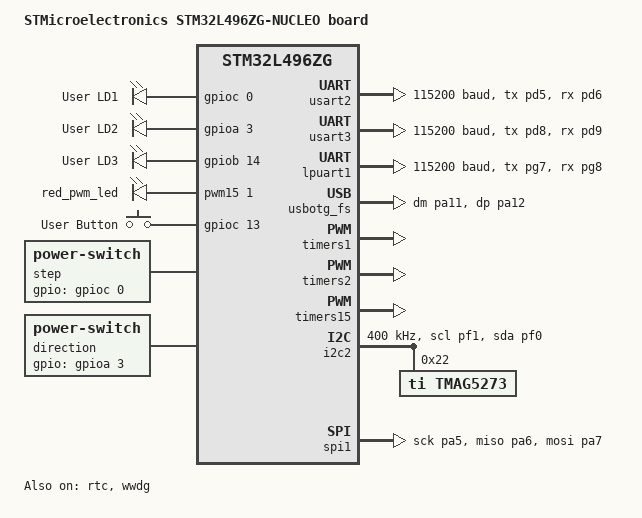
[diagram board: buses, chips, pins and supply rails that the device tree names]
/*
 * Copyright (c) 2018 Centaur Analytics, Inc
 *
 * SPDX-License-Identifier: Apache-2.0
 */

/dts-v1/;
#include <st/l4/stm32l496Xg.dtsi>
#include <st/l4/stm32l496z(e-g)tx-pinctrl.dtsi>
#include "arduino_r3_connector.dtsi"
#include <zephyr/dt-bindings/input/input-event-codes.h>
#include <zephyr/dt-bindings/sensor/tmag5273.h>

/ {
	model = "STMicroelectronics STM32L496ZG-NUCLEO board";
	compatible = "st,stm32l496zg-nucleo";

	chosen {
		zephyr,console = &lpuart1;
		zephyr,shell-uart = &lpuart1;
		zephyr,sram = &sram0;
		zephyr,flash = &flash0;
	};

	leds: leds {
		compatible = "gpio-leds";
		green_led_1: led_1 {
			gpios = <&gpioc 0 GPIO_ACTIVE_HIGH>;
			label = "User LD1";
		};
		blue_led_2: led_2 {
			gpios = <&gpioa 3 GPIO_ACTIVE_HIGH>;
			label = "User LD2";
		};
		red_led_3: led_3 {
			gpios = <&gpiob 14 GPIO_ACTIVE_HIGH>;
			label = "User LD3";
		};
	};

	pwmleds {
		compatible = "pwm-leds";

		red_pwm_led: red_pwm_led {
			pwms = <&pwm15 1 PWM_MSEC(20) PWM_POLARITY_NORMAL>;
		};
	};

	gpio_keys {
		compatible = "gpio-keys";
		user_button: button {
			label = "User Button";
			gpios = <&gpioc 13 GPIO_ACTIVE_HIGH>;
			zephyr,code = <INPUT_KEY_0>;
		};
	};

	step: step {
		compatible = "power-switch";
		gpios = <&gpioc 0 GPIO_ACTIVE_HIGH>;
	};

	direction: direction{
		compatible = "power-switch";
		gpios = <&gpioa 3 GPIO_ACTIVE_HIGH>;
	};

	aliases {
		led0 = &green_led_1;
		led1 = &blue_led_2;
		led2 = &red_led_3;
		pwm-led0 = &red_pwm_led;
		sw0 = &user_button;
		watchdog0 = &wwdg;
	};
};

&clk_lsi {
	status = "okay";
};

&clk_hsi {
	status = "okay";
};

&clk_hsi48 {
	status = "okay";
};

&pll {
	div-m = <1>;
	mul-n = <20>;
	div-p = <7>;
	div-q = <2>;
	div-r = <4>;
	clocks = <&clk_hsi>;
	status = "okay";
};

&rcc {
	clocks = <&pll>;
	clock-frequency = <DT_FREQ_M(80)>;
	ahb-prescaler = <1>;
	apb1-prescaler = <1>;
	apb2-prescaler = <1>;
};

&usart2 {
	pinctrl-0 = <&usart2_tx_pd5 &usart2_rx_pd6>;
	pinctrl-names = "default";
	current-speed = <115200>;
	status = "okay";
};

&usart3 {
	pinctrl-0 = <&usart3_tx_pd8 &usart3_rx_pd9>;
	pinctrl-names = "default";
	current-speed = <115200>;
	status = "okay";
};

&lpuart1 {
	pinctrl-0 = <&lpuart1_tx_pg7 &lpuart1_rx_pg8>;
	pinctrl-names = "default";
	current-speed = <115200>;
	status = "okay";
};

zephyr_udc0: &usbotg_fs {
	pinctrl-0 = <&usb_otg_fs_dm_pa11 &usb_otg_fs_dp_pa12>;
	pinctrl-names = "default";
	status = "okay";
};

&timers1 {
	st,prescaler = <10000>;
	status = "okay";

	pwm1: pwm {
		status = "okay";
		pinctrl-0 = <&tim1_ch1_pe9
			     &tim1_ch2_pe11
			     &tim1_ch3_pe13>;
		pinctrl-names = "default";
	};
};

&timers2 {
	status = "okay";

	pwm2: pwm {
		status = "okay";
		pinctrl-0 = <&tim2_ch1_pa0>;
		pinctrl-names = "default";
	};
};

&timers15 {
	st,prescaler = <10000>;
	status = "okay";

	pwm15: pwm {
		status = "okay";
		pinctrl-0 = <&tim15_ch1_pb14>;
		pinctrl-names = "default";
	};
};

&i2c2 {
	pinctrl-0 = <&i2c2_scl_pf1 &i2c2_sda_pf0>;
	pinctrl-names = "default";
	status = "okay";
	clock-frequency = <I2C_BITRATE_FAST>;

	tmag5273: tmag5273@22 {
		compatible = "ti,tmag5273";
		status = "okay";
		reg = <0x22>;
		//int-gpios = <&test_gpio 15 1>;

		operation-mode = <TMAG5273_DT_OPER_MODE_CONTINUOUS>;
		angle-magnitude-axis = <TMAG5273_DT_ANGLE_MAG_XY>;
	};
};

&spi1 {
	pinctrl-0 = <&spi1_sck_pa5 &spi1_miso_pa6 &spi1_mosi_pa7>;
	pinctrl-names = "default";
	cs-gpios = <&gpiod 14 (GPIO_ACTIVE_LOW | GPIO_PULL_UP)>;
	status = "okay";
};

&rtc {
	clocks = <&rcc STM32_CLOCK_BUS_APB1 0x10000000>,
		 <&rcc STM32_SRC_LSI RTC_SEL(2)>;
	status = "okay";
};

&wwdg {
	status = "okay";
};
